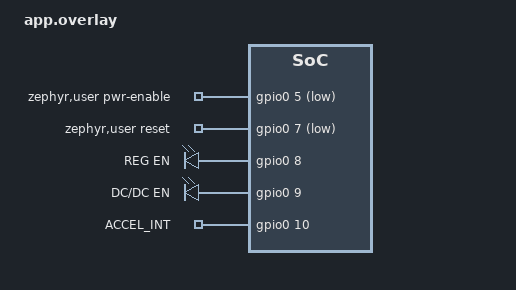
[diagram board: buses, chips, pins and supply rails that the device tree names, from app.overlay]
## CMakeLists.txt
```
# SPDX-License-Identifier: Apache-2.0

cmake_minimum_required(VERSION 3.20.0)

find_package(Zephyr REQUIRED HINTS $ENV{ZEPHYR_BASE})
project(ZephyrGPIO)

FILE(GLOB app_sources src/*.c)
target_sources(app PRIVATE ${app_sources})
```

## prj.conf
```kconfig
CONFIG_CONSOLE=y
CONFIG_GPIO=y
```

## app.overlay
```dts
/* 
 * All nodes require a binding. Zephyr provides a special /zephyr,user node
 * for sample code and applications. The devicetree API provides it as a 
 * convenient container when only a few simple properties are needed, such as 
 * storing a hardware-dependent value, phandle(s), or GPIO pin.
 *
 * https://docs.zephyrproject.org/3.2.0/build/dts/bindings.html
 */

/ {
	zephyr,user {
		pwr-enable-gpios = <&gpio0 5 GPIO_ACTIVE_LOW>;
		reset-gpios = <&gpio0 7 GPIO_ACTIVE_LOW>;
	};

	outputs {
		compatible = "gpio-leds";
		output0: out0 {
			gpios = <&gpio0 8 GPIO_ACTIVE_HIGH>;
			label = "REG EN";
		};
		output1: out1 {
			gpios = <&gpio0 9 GPIO_ACTIVE_HIGH>;
			label = "DC/DC EN";
		};
	};

	inputs {
		compatible = "gpio-keys";
		input0: in1 {
			gpios = <&gpio0 10 GPIO_ACTIVE_HIGH>;
			label = "ACCEL_INT";
		};
	};

	aliases {
		reg-en = &output0;
		dcdc-en = &output1;
	};
};
```

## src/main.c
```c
/*
 * Zephyr GPIO Example
 * Demonstrates basic general purpose input-output (GPIO) support.
 * Device Tree settings can be found in app.overlay file. 
 * 
 * Zephyr GPIO API documentation can be found at 
 * https://docs.zephyrproject.org/latest/hardware/peripherals/gpio.html
 * 
 * Copyright (c) 2023 Aaron Mohtar & Co Pty Ltd
 * SPDX-License-Identifier: Apache-2.0
 */

#include <stdio.h>
#include <string.h>
#include <zephyr/device.h>
#include <zephyr/kernel.h>
#include <zephyr/drivers/gpio.h>

static const struct gpio_dt_spec gpio_pwr_enable = GPIO_DT_SPEC_GET(DT_PATH(zephyr_user), pwr_enable_gpios);
static const struct gpio_dt_spec gpio_reset = GPIO_DT_SPEC_GET(DT_PATH(zephyr_user), reset_gpios);

static const struct gpio_dt_spec gpio_reg_en = GPIO_DT_SPEC_GET(DT_ALIAS(reg_en), gpios);

void main(void)
{
	int ret;

	printk("Zephyr GPIO Example \nBoard: %s\n", CONFIG_BOARD);

	if (!device_is_ready(gpio_pwr_enable.port)) {
		return;
	}

	// Configures GPIO pin. Options include:
	//	GPIO_INPUT - Enables pin as input.
	//	GPIO_OUTPUT - Enables pin as output, no change to the output state.
	//	GPIO_DISCONNECTED - Disables pin for both input and output.
	//	GPIO_OUTPUT_LOW - Configures GPIO pin as output and initializes it to a low state.
	//	GPIO_OUTPUT_HIGH - Configures GPIO pin as output and initializes it to a high state.
	//	GPIO_OUTPUT_INACTIVE - Configures GPIO pin as output and initializes it to a logic 0.
	//	GPIO_OUTPUT_ACTIVE - Configures GPIO pin as output and initializes it to a logic 1.
	//	GPIO_ACTIVE_LOW - GPIO pin is active (has logical value ‘1’) in low state.
	//	GPIO_ACTIVE_HIGH - GPIO pin is active (has logical value ‘1’) in high state.
	//	GPIO_OPEN_DRAIN - Configures GPIO output in open drain mode (wired AND).
	//	GPIO_OPEN_SOURCE - Configures GPIO output in open source mode (wired OR).
	//	GPIO_PULL_UP - Enables GPIO pin pull-up.
	//	GPIO_PULL_DOWN - Enable GPIO pin pull-down.
	ret = gpio_pin_configure_dt(&gpio_pwr_enable, GPIO_OUTPUT_ACTIVE);
	if (ret < 0) {
		return;
	}

	while (1) {
		printk("Toggle pwr_enable:\n");

		// Toggle pin:
		gpio_pin_toggle_dt(&gpio_pwr_enable);

		// Set pin:
		//gpio_pin_set_dt(&gpio_pwr_enable, 1);
		// Clear pin:
		//gpio_pin_set_dt(&gpio_pwr_enable, 0);

		k_msleep(1000);
	}
}
```
